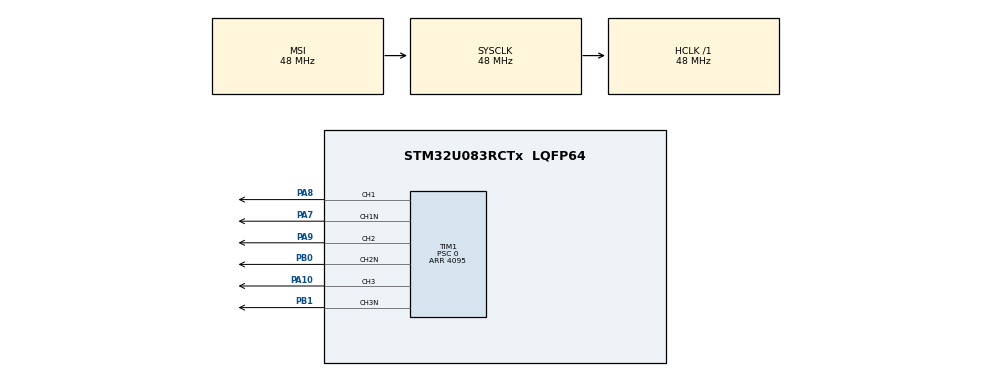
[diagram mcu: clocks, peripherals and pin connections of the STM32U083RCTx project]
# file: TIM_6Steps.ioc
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Mcu.Family=STM32U0
Mcu.Name=STM32U083RCTx
Mcu.Package=LQFP64
NVIC.TIM1_BRK_UP_TRG_COM_IRQn=true\:0\:0\:false\:false\:true\:true\:true\:true
PA10.GPIO_PuPd=GPIO_PULLDOWN
PA10.GPIO_Speed=GPIO_SPEED_FREQ_VERY_HIGH
PA10.Signal=S_TIM1_CH3
PA7.GPIO_PuPd=GPIO_PULLDOWN
PA7.GPIO_Speed=GPIO_SPEED_FREQ_VERY_HIGH
PA7.Mode=Output Compare1 CH1 CH1N
PA7.Signal=TIM1_CH1N
PA8.GPIO_PuPd=GPIO_PULLDOWN
PA8.GPIO_Speed=GPIO_SPEED_FREQ_VERY_HIGH
PA8.Signal=S_TIM1_CH1
PA9.GPIO_PuPd=GPIO_PULLDOWN
PA9.GPIO_Speed=GPIO_SPEED_FREQ_VERY_HIGH
PA9.Signal=S_TIM1_CH2
PB0.GPIO_PuPd=GPIO_PULLDOWN
PB0.GPIO_Speed=GPIO_SPEED_FREQ_VERY_HIGH
PB0.Mode=Output Compare2 CH2 CH2N
PB0.Signal=TIM1_CH2N
PB1.GPIO_PuPd=GPIO_PULLDOWN
PB1.GPIO_Speed=GPIO_SPEED_FREQ_VERY_HIGH
PB1.Mode=Output Compare3 CH3 CH3N
PB1.Signal=TIM1_CH3N
PB12.Signal=TIM1_BKIN
ProjectManager.HeapSize=0x200
ProjectManager.StackSize=0x400
ProjectManager.TargetToolchain=EWARM V9.20
RCC.ADCFreq_Value=48000000
RCC.AHBFreq_Value=48000000
RCC.CortexFreq_Value=48000000
RCC.HCLKFreq_Value=48000000
RCC.HSE_VALUE=4000000
RCC.HSI48_VALUE=48000000
RCC.HSI_VALUE=16000000
RCC.LSE_VALUE=32768
RCC.MSIClockRangeVal=RCC_MSIRANGE_11
RCC.MSI_VALUE=48000000
RCC.PLLM=RCC_PLLM_DIV8
RCC.PLLN=8
RCC.PLLSourceVirtual=RCC_PLLSOURCE_MSI
RCC.SYSCLKFreq_VALUE=48000000
RCC.SYSCLKSource=RCC_SYSCLKSOURCE_MSI
RCC.USBFreq_Value=48000000
RCC.VCOOutputFreq_Value=48000000
SH.S_TIM1_CH1.0=TIM1_CH1,Output Compare1 CH1 CH1N
SH.S_TIM1_CH2.0=TIM1_CH2,Output Compare2 CH2 CH2N
SH.S_TIM1_CH3.0=TIM1_CH3,Output Compare3 CH3 CH3N
TIM1.AutoReloadPreload=TIM_AUTORELOAD_PRELOAD_DISABLE
TIM1.AutomaticOutput=TIM_AUTOMATICOUTPUT_ENABLE
TIM1.Break2Filter=0
TIM1.Break2Polarity=TIM_BREAK2POLARITY_HIGH
TIM1.Break2State=TIM_BREAK2_DISABLE
TIM1.BreakFilter=0
TIM1.BreakPolarity=TIM_BREAKPOLARITY_HIGH
TIM1.BreakState=TIM_BREAK_ENABLE
TIM1.Channel-Output\ Compare1\ CH1\ CH1N=TIM_CHANNEL_1
TIM1.Channel-Output\ Compare2\ CH2\ CH2N=TIM_CHANNEL_2
TIM1.Channel-Output\ Compare3\ CH3\ CH3N=TIM_CHANNEL_3
TIM1.ClearInputSource=TIM_CLEARINPUTSOURCE_NONE
TIM1.ClockDivision=TIM_CLOCKDIVISION_DIV1
TIM1.CounterMode=TIM_COUNTERMODE_UP
TIM1.DeadTime=1
TIM1.LockLevel=TIM_LOCKLEVEL_OFF
TIM1.OC1Preload=DISABLE
TIM1.OC2Preload=DISABLE
TIM1.OC3Preload=DISABLE
TIM1.OCIdleState_1=TIM_OCIDLESTATE_SET
TIM1.OCIdleState_2=TIM_OCIDLESTATE_SET
TIM1.OCIdleState_3=TIM_OCIDLESTATE_SET
TIM1.OCMode_1=TIM_OCMODE_TOGGLE
TIM1.OCMode_2=TIM_OCMODE_TOGGLE
TIM1.OCMode_3=TIM_OCMODE_TOGGLE
TIM1.OCNIdleState_1=TIM_OCNIDLESTATE_SET
TIM1.OCNIdleState_2=TIM_OCNIDLESTATE_SET
TIM1.OCNIdleState_3=TIM_OCNIDLESTATE_SET
TIM1.OCNPolarity_1=TIM_OCNPOLARITY_HIGH
TIM1.OCNPolarity_2=TIM_OCNPOLARITY_HIGH
TIM1.OCNPolarity_3=TIM_OCNPOLARITY_HIGH
TIM1.OCPolarity_1=TIM_OCPOLARITY_HIGH
TIM1.OCPolarity_2=TIM_OCPOLARITY_HIGH
TIM1.OCPolarity_3=TIM_OCPOLARITY_HIGH
TIM1.OffStateIDLEMode=TIM_OSSI_ENABLE
TIM1.OffStateRunMode=TIM_OSSR_ENABLE
TIM1.Period=4095
TIM1.Prescaler=0
TIM1.Pulse-Output\ Compare1\ CH1\ CH1N=2047
TIM1.Pulse-Output\ Compare2\ CH2\ CH2N=1023
TIM1.Pulse-Output\ Compare3\ CH3\ CH3N=511
TIM1.RepetitionCounter=0
TIM1.SourceBRK2COMP1=TIM_BREAKINPUTSOURCE_DISABLE
TIM1.SourceBRK2COMP2=TIM_BREAKINPUTSOURCE_DISABLE
TIM1.SourceBRK2DigInput=TIM_BREAKINPUTSOURCE_DISABLE
TIM1.SourceBRKCOMP1=TIM_BREAKINPUTSOURCE_DISABLE
TIM1.SourceBRKCOMP2=TIM_BREAKINPUTSOURCE_DISABLE
TIM1.SourceBRKDigInput-Output\ Compare1\ CH1\ CH1N=TIM_BREAKINPUTSOURCE_ENABLE
TIM1.SourceBRKDigInputPolarity=TIM_BREAKINPUTSOURCE_POLARITY_HIGH
TIM1.TIM_MasterOutputTrigger=TIM_TRGO_RESET
TIM1.TIM_MasterOutputTrigger2=TIM_TRGO2_RESET
TIM1.TIM_MasterSlaveMode=TIM_MASTERSLAVEMODE_DISABLE
VP_PWR_VS_SECSignals.Mode=Security/Privilege
board=custom

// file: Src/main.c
/* USER CODE BEGIN Header */
/**
  ******************************************************************************
  * @file           : main.c
  * @brief          : Main program body
  ******************************************************************************
  * @attention
  *
  * Copyright (c) 2023 STMicroelectronics.
  * All rights reserved.
  *
  * This software is licensed under terms that can be found in the LICENSE file
  * in the root directory of this software component.
  * If no LICENSE file comes with this software, it is provided AS-IS.
  *
  ******************************************************************************
  */
/* USER CODE END Header */
#include "main.h"

/* USER CODE BEGIN Includes */
#include "stm32u0xx_nucleo.h"

/* USER CODE END Includes */

TIM_HandleTypeDef htim1;

/* USER CODE BEGIN PV */
/* Private variables ---------------------------------------------------------*/
/* Step Index */
 __IO uint32_t uwStep = 0;

/* Authorize TIM COM event generation */
__IO uint32_t uwAuthorizeTimComEvent = 0;

/* Timer Output Compare Configuration Structure declaration */
TIM_OC_InitTypeDef              sPWMConfig1, sPWMConfig2, sPWMConfig3;

/* USER CODE END PV */

void SystemClock_Config(void);
static void MX_GPIO_Init(void);
static void MX_TIM1_Init(void);

int main(void)
{

  /* MCU Configuration--------------------------------------------------------*/

  /* Reset of all peripherals, Initializes the Flash interface and the Systick. */
  HAL_Init();

  /* Configure the system clock */
  SystemClock_Config();

  /* Initialize all configured peripherals */
  MX_GPIO_Init();
  MX_TIM1_Init();
  /* USER CODE BEGIN 2 */
  /* Configure LED4 */
  BSP_LED_Init(LED4);

  /* Initialise structures */
  sPWMConfig1.OCMode = TIM_OCMODE_TOGGLE;
  sPWMConfig1.Pulse = 2047;
  sPWMConfig1.OCPolarity = TIM_OCPOLARITY_HIGH;
  sPWMConfig1.OCNPolarity = TIM_OCNPOLARITY_HIGH;
  sPWMConfig1.OCFastMode = TIM_OCFAST_DISABLE;
  sPWMConfig1.OCIdleState = TIM_OCIDLESTATE_SET;
  sPWMConfig1.OCNIdleState = TIM_OCNIDLESTATE_SET;

  sPWMConfig2 = sPWMConfig1;
  sPWMConfig2.Pulse = 1023;

  sPWMConfig3 = sPWMConfig1;
  sPWMConfig3.Pulse = 511;

 /*## Configure the commutation event: software event ####################*/
	HAL_TIMEx_ConfigCommutEvent_IT(&htim1, TIM_TS_NONE, TIM_COMMUTATION_SOFTWARE);
  /*## Start signals generation ###########################################*/
  /*--------------------------------------------------------------------------*/
  /* Start channel 1 */
  if(HAL_TIM_OC_Start(&htim1, TIM_CHANNEL_1) != HAL_OK)
  {
    /* Starting Error */
    Error_Handler();
  }
  /* Start channel 1N */
  if(HAL_TIMEx_OCN_Start(&htim1, TIM_CHANNEL_1) != HAL_OK)
  {
    /* Starting Error */
    Error_Handler();
  }
  /*--------------------------------------------------------------------------*/

  /*--------------------------------------------------------------------------*/
  /* Start channel 2 */
  if(HAL_TIM_OC_Start(&htim1, TIM_CHANNEL_2) != HAL_OK)
  {
    /* Starting Error */
    Error_Handler();
  }
  /* Start channel 2N */
  if(HAL_TIMEx_OCN_Start(&htim1, TIM_CHANNEL_2) != HAL_OK)
  {
    /* Starting Error */
    Error_Handler();
  }
  /*--------------------------------------------------------------------------*/

  /*--------------------------------------------------------------------------*/
  /* Start channel 3 */
  if(HAL_TIM_OC_Start(&htim1, TIM_CHANNEL_3) != HAL_OK)
  {
    /* Starting Error */
    Error_Handler();
  }
  /* Start channel 3N */
  if(HAL_TIMEx_OCN_Start(&htim1, TIM_CHANNEL_3) != HAL_OK)
  {
    /* Starting Error */
    Error_Handler();
  }

  /* Authorize TIM COM event generation */
  uwAuthorizeTimComEvent = 1;

  /* USER CODE END 2 */

  /* Infinite loop */
  while (1)
  {

  }
}

void SystemClock_Config(void)
{
  RCC_OscInitTypeDef RCC_OscInitStruct = {0};
  RCC_ClkInitTypeDef RCC_ClkInitStruct = {0};

  /** Configure the main internal regulator output voltage
  */
  HAL_PWREx_ControlVoltageScaling(PWR_REGULATOR_VOLTAGE_SCALE1);

  /** Initializes the RCC Oscillators according to the specified parameters
  * in the RCC_OscInitTypeDef structure.
  */
  RCC_OscInitStruct.OscillatorType = RCC_OSCILLATORTYPE_MSI;
  RCC_OscInitStruct.MSIState = RCC_MSI_ON;
  RCC_OscInitStruct.MSICalibrationValue = RCC_MSICALIBRATION_DEFAULT;
  RCC_OscInitStruct.MSIClockRange = RCC_MSIRANGE_11;
  RCC_OscInitStruct.PLL.PLLState = RCC_PLL_NONE;
  if (HAL_RCC_OscConfig(&RCC_OscInitStruct) != HAL_OK)
  {
    Error_Handler();
  }

  /** Initializes the CPU, AHB and APB buses clocks
  */
  RCC_ClkInitStruct.ClockType = RCC_CLOCKTYPE_HCLK|RCC_CLOCKTYPE_SYSCLK
                              |RCC_CLOCKTYPE_PCLK1;
  RCC_ClkInitStruct.SYSCLKSource = RCC_SYSCLKSOURCE_MSI;
  RCC_ClkInitStruct.AHBCLKDivider = RCC_SYSCLK_DIV1;
  RCC_ClkInitStruct.APB1CLKDivider = RCC_HCLK_DIV1;

  if (HAL_RCC_ClockConfig(&RCC_ClkInitStruct, FLASH_LATENCY_1) != HAL_OK)
  {
    Error_Handler();
  }
}

static void MX_TIM1_Init(void)
{

  TIM_MasterConfigTypeDef sMasterConfig = {0};
  TIM_OC_InitTypeDef sConfigOC = {0};
  TIM_BreakDeadTimeConfigTypeDef sBreakDeadTimeConfig = {0};

  htim1.Instance = TIM1;
  htim1.Init.Prescaler = 0;
  htim1.Init.CounterMode = TIM_COUNTERMODE_UP;
  htim1.Init.Period = 4095;
  htim1.Init.ClockDivision = TIM_CLOCKDIVISION_DIV1;
  htim1.Init.RepetitionCounter = 0;
  htim1.Init.AutoReloadPreload = TIM_AUTORELOAD_PRELOAD_DISABLE;
  if (HAL_TIM_OC_Init(&htim1) != HAL_OK)
  {
    Error_Handler();
  }
  sMasterConfig.MasterOutputTrigger = TIM_TRGO_RESET;
  sMasterConfig.MasterOutputTrigger2 = TIM_TRGO2_RESET;
  sMasterConfig.MasterSlaveMode = TIM_MASTERSLAVEMODE_DISABLE;
  if (HAL_TIMEx_MasterConfigSynchronization(&htim1, &sMasterConfig) != HAL_OK)
  {
    Error_Handler();
  }
  sConfigOC.OCMode = TIM_OCMODE_TOGGLE;
  sConfigOC.Pulse = 2047;
  sConfigOC.OCPolarity = TIM_OCPOLARITY_HIGH;
  sConfigOC.OCNPolarity = TIM_OCNPOLARITY_HIGH;
  sConfigOC.OCFastMode = TIM_OCFAST_DISABLE;
  sConfigOC.OCIdleState = TIM_OCIDLESTATE_SET;
  sConfigOC.OCNIdleState = TIM_OCNIDLESTATE_SET;
  if (HAL_TIM_OC_ConfigChannel(&htim1, &sConfigOC, TIM_CHANNEL_1) != HAL_OK)
  {
    Error_Handler();
  }
  sConfigOC.Pulse = 1023;
  if (HAL_TIM_OC_ConfigChannel(&htim1, &sConfigOC, TIM_CHANNEL_2) != HAL_OK)
  {
    Error_Handler();
  }
  sConfigOC.Pulse = 511;
  if (HAL_TIM_OC_ConfigChannel(&htim1, &sConfigOC, TIM_CHANNEL_3) != HAL_OK)
  {
    Error_Handler();
  }
  sBreakDeadTimeConfig.OffStateRunMode = TIM_OSSR_ENABLE;
  sBreakDeadTimeConfig.OffStateIDLEMode = TIM_OSSI_ENABLE;
  sBreakDeadTimeConfig.LockLevel = TIM_LOCKLEVEL_OFF;
  sBreakDeadTimeConfig.DeadTime = 1;
  sBreakDeadTimeConfig.BreakState = TIM_BREAK_ENABLE;
  sBreakDeadTimeConfig.BreakPolarity = TIM_BREAKPOLARITY_HIGH;
  sBreakDeadTimeConfig.BreakFilter = 0;
  sBreakDeadTimeConfig.BreakAFMode = TIM_BREAK_AFMODE_INPUT;
  sBreakDeadTimeConfig.Break2State = TIM_BREAK2_DISABLE;
  sBreakDeadTimeConfig.Break2Polarity = TIM_BREAK2POLARITY_HIGH;
  sBreakDeadTimeConfig.Break2Filter = 0;
  sBreakDeadTimeConfig.Break2AFMode = TIM_BREAK_AFMODE_INPUT;
  sBreakDeadTimeConfig.AutomaticOutput = TIM_AUTOMATICOUTPUT_ENABLE;
  if (HAL_TIMEx_ConfigBreakDeadTime(&htim1, &sBreakDeadTimeConfig) != HAL_OK)
  {
    Error_Handler();
  }
  HAL_TIM_MspPostInit(&htim1);

}

static void MX_GPIO_Init(void)
{

  /* GPIO Ports Clock Enable */
  __HAL_RCC_GPIOA_CLK_ENABLE();
  __HAL_RCC_GPIOB_CLK_ENABLE();

}

/* USER CODE BEGIN 4 */
/**
  * @brief  Commutation event callback in non blocking mode
  * @param  htim : Timer handle
  * @retval None
  */

void HAL_TIMEx_CommutCallback(TIM_HandleTypeDef *htim)
{
  /* Entry state */
  if (uwStep == 0)
  {
    /* Next step: Step 1 Configuration -------------------------------------- */
    sPWMConfig1.OCMode     = TIM_OCMODE_PWM1;
    HAL_TIM_PWM_ConfigChannel(&htim1, &sPWMConfig1, TIM_CHANNEL_1);
    HAL_TIM_PWM_Start(&htim1, TIM_CHANNEL_1);
    HAL_TIMEx_OCN_Stop(&htim1, TIM_CHANNEL_1);

    /*  Channel3 configuration */
    sPWMConfig3.OCMode     = TIM_OCMODE_PWM1;
    HAL_TIM_PWM_ConfigChannel(&htim1, &sPWMConfig3, TIM_CHANNEL_3);
    HAL_TIMEx_OCN_Start(&htim1, TIM_CHANNEL_3);
    HAL_TIM_PWM_Stop(&htim1, TIM_CHANNEL_3);

    /*  Channel2 configuration */
    HAL_TIM_OC_Stop(&htim1, TIM_CHANNEL_2);
    HAL_TIMEx_OCN_Stop(&htim1, TIM_CHANNEL_2);
    uwStep = 1;
  }

  if (uwStep == 1)
  {
    /* Next step: Step 2 Configuration -------------------------------------- */
    /*  Channel1 configuration */
    /* Same configuration as the previous step */

    /*  Channel2 configuration */
    sPWMConfig2.OCMode     = TIM_OCMODE_PWM1;
    HAL_TIM_PWM_ConfigChannel(&htim1, &sPWMConfig2, TIM_CHANNEL_2);
    HAL_TIMEx_OCN_Start(&htim1, TIM_CHANNEL_2);

    /*  Channel3 configuration */
    HAL_TIMEx_OCN_Stop(&htim1, TIM_CHANNEL_3);

    uwStep++;
  }

  else if (uwStep == 2)
  {
    /* Next step: Step 3 Configuration -------------------------------------- */
    /*  Channel2 configuration */
    /* Same configuration as the previous step */

    /*  Channel3 configuration */
    sPWMConfig3.OCMode     = TIM_OCMODE_PWM1;
    HAL_TIM_PWM_ConfigChannel(&htim1, &sPWMConfig3, TIM_CHANNEL_3);
    HAL_TIM_PWM_Start(&htim1, TIM_CHANNEL_3);

    /*  Channel1 configuration */
    HAL_TIM_OC_Stop(&htim1, TIM_CHANNEL_1);

    uwStep++;
  }

  else if (uwStep == 3)
  {
    /* Next step: Step 4 Configuration -------------------------------------- */
    /*  Channel3 configuration */
    /* Same configuration as the previous step */

    /*  Channel2 configuration */
    HAL_TIMEx_OCN_Stop(&htim1, TIM_CHANNEL_2);

    /*  Channel1 configuration */
    sPWMConfig1.OCMode     = TIM_OCMODE_PWM1;
    HAL_TIM_PWM_ConfigChannel(&htim1, &sPWMConfig1, TIM_CHANNEL_1);
    HAL_TIMEx_OCN_Start(&htim1, TIM_CHANNEL_1);

    uwStep++;
  }
  else if (uwStep == 4)
  {
    /* Next step: Step 5 Configuration -------------------------------------- */
    /*  Channel3 configuration */
    HAL_TIM_OC_Stop(&htim1, TIM_CHANNEL_3);

    /*  Channel1 configuration */
    /* Same configuration as the previous step */

    /*  Channel2 configuration */
    sPWMConfig2.OCMode     = TIM_OCMODE_PWM1;
    HAL_TIM_PWM_ConfigChannel(&htim1, &sPWMConfig2, TIM_CHANNEL_2);
    HAL_TIM_PWM_Start(&htim1, TIM_CHANNEL_2);

    uwStep++;
  }

  else if (uwStep == 5)
  {
    /* Next step: Step 6 Configuration -------------------------------------- */
    /*  Channel3 configuration */
    sPWMConfig3.OCMode     = TIM_OCMODE_PWM1;
    HAL_TIM_PWM_ConfigChannel(&htim1, &sPWMConfig3, TIM_CHANNEL_3);
    HAL_TIMEx_OCN_Start(&htim1, TIM_CHANNEL_3);

    /*  Channel1 configuration */
    HAL_TIMEx_OCN_Stop(&htim1, TIM_CHANNEL_1);

    /*  Channel2 configuration */
    /* Same configuration as the previous step */

    uwStep++;
  }

  else
  {
    /* Next step: Step 1 Configuration -------------------------------------- */
    /*  Channel1 configuration */
    sPWMConfig1.OCMode     = TIM_OCMODE_PWM1;
    HAL_TIM_PWM_ConfigChannel(&htim1, &sPWMConfig1, TIM_CHANNEL_1);
    HAL_TIM_PWM_Start(&htim1, TIM_CHANNEL_1);

    /*  Channel3 configuration */
    /* Same configuration as the previous step */

    /*  Channel2 configuration */
    HAL_TIM_OC_Stop(&htim1, TIM_CHANNEL_2);

    uwStep = 1;
  }
}

/* USER CODE END 4 */

void Error_Handler(void)
{
  /* USER CODE BEGIN Error_Handler_Debug */
  /* User can add his own implementation to report the HAL error return state */
  /* Turn LED4 on */
  BSP_LED_On(LED4);
  while(1)
  {
  }
  /* USER CODE END Error_Handler_Debug */
}
